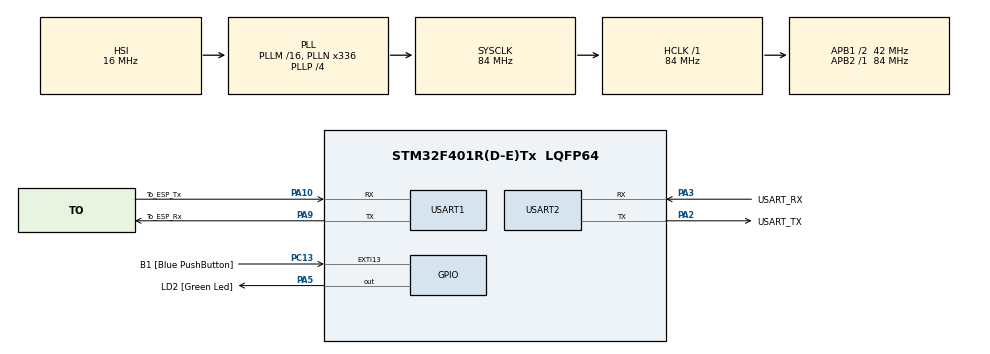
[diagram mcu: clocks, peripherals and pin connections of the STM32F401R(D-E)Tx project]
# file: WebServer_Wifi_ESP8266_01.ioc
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Mcu.Family=STM32F4
Mcu.Name=STM32F401R(D-E)Tx
Mcu.Package=LQFP64
NVIC.PriorityGroup=NVIC_PRIORITYGROUP_4
PA10.GPIO_Label=To_ESP_Tx
PA10.Mode=Asynchronous
PA10.Signal=USART1_RX
PA13.GPIO_Label=TMS
PA13.Mode=Trace_Asynchronous_SW
PA13.Signal=SYS_JTMS-SWDIO
PA14.GPIO_Label=TCK
PA14.Mode=Trace_Asynchronous_SW
PA14.Signal=SYS_JTCK-SWCLK
PA2.GPIO_Label=USART_TX
PA2.GPIO_Mode=GPIO_MODE_AF_PP
PA2.GPIO_PuPd=GPIO_NOPULL
PA2.GPIO_Speed=GPIO_SPEED_FREQ_LOW
PA2.Mode=Asynchronous
PA2.Signal=USART2_TX
PA3.GPIO_Label=USART_RX
PA3.GPIO_Mode=GPIO_MODE_AF_PP
PA3.GPIO_PuPd=GPIO_NOPULL
PA3.GPIO_Speed=GPIO_SPEED_FREQ_LOW
PA3.Mode=Asynchronous
PA3.Signal=USART2_RX
PA5.GPIO_Label=LD2 [Green Led]
PA5.GPIO_Mode=GPIO_MODE_OUTPUT_PP
PA5.GPIO_PuPd=GPIO_NOPULL
PA5.GPIO_Speed=GPIO_SPEED_FREQ_LOW
PA5.Signal=GPIO_Output
PA9.GPIO_Label=To_ESP_Rx
PA9.Mode=Asynchronous
PA9.Signal=USART1_TX
PB3.GPIO_Label=SWO
PB3.Mode=Trace_Asynchronous_SW
PB3.Signal=SYS_JTDO-SWO
PC13-ANTI_TAMP.GPIO_Label=B1 [Blue PushButton]
PC13-ANTI_TAMP.GPIO_ModeDefaultEXTI=GPIO_MODE_IT_FALLING
PC13-ANTI_TAMP.GPIO_PuPd=GPIO_NOPULL
PC13-ANTI_TAMP.Signal=GPXTI13
PC14-OSC32_IN.Mode=LSE-External-Oscillator
PC14-OSC32_IN.Signal=RCC_OSC32_IN
PC15-OSC32_OUT.Mode=LSE-External-Oscillator
PC15-OSC32_OUT.Signal=RCC_OSC32_OUT
PH0\ -\ OSC_IN.Mode=HSE-External-Clock-Source
PH0\ -\ OSC_IN.Signal=RCC_OSC_IN
PH1\ -\ OSC_OUT.Mode=HSE-External-Clock-Source
PH1\ -\ OSC_OUT.Signal=RCC_OSC_OUT
ProjectManager.HeapSize=0x200
ProjectManager.StackSize=0x400
ProjectManager.TargetToolchain=STM32CubeIDE
RCC.48MHZClocksFreq_Value=48000000
RCC.AHBFreq_Value=84000000
RCC.APB1CLKDivider=RCC_HCLK_DIV2
RCC.APB1Freq_Value=42000000
RCC.APB1TimFreq_Value=84000000
RCC.APB2Freq_Value=84000000
RCC.APB2TimFreq_Value=84000000
RCC.CortexFreq_Value=84000000
RCC.HCLKFreq_Value=84000000
RCC.HSE_VALUE=8000000
RCC.HSI_VALUE=16000000
RCC.PLLN=336
RCC.PLLP=RCC_PLLP_DIV4
RCC.PLLQ=7
RCC.SYSCLKFreq_VALUE=84000000
RCC.SYSCLKSource=RCC_SYSCLKSOURCE_PLLCLK
RCC.VCOOutputFreq_Value=336000000
USART1.VirtualMode=VM_ASYNC
USART2.VirtualMode=VM_ASYNC
board=NUCLEO-F401RE

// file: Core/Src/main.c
/* USER CODE BEGIN Header */
/**
  ******************************************************************************
  * @file           : main.c
  * @brief          : Main program body - WiFi Scanner with Auto Connection
  ******************************************************************************
  * @attention
  *
  * Copyright (c) 2024 STMicroelectronics.
  * All rights reserved.
  *
  ******************************************************************************
  */
/* USER CODE END Header */
#include "main.h"
#include "esp8266_driver.h"
#include <string.h>
#include <stdio.h>
#include <stdlib.h>  // For atoi()

/* USER CODE BEGIN PD */
#define TARGET_SSID "SCEL-net"         // SSID to search for and connect
#define TARGET_PASSWORD "Perlatecnica" // WiFi password

/* USER CODE END PD */

UART_HandleTypeDef huart1;
UART_HandleTypeDef huart2;

/* USER CODE BEGIN PV */
ESP8266_t esp8266;
uint8_t led_state = 0;  // 0 = OFF, 1 = ON
char ip_address[16] = {0};

/* USER CODE END PV */

void SystemClock_Config(void);
static void MX_GPIO_Init(void);
static void MX_USART1_UART_Init(void);
static void MX_USART2_UART_Init(void);
/* USER CODE BEGIN PFP */
void Print_Status(const char* message);
int Scan_WiFi_Networks_Detailed(void);
int Connect_To_WiFi(const char* ssid, const char* password);
int Start_Web_Server(uint16_t port);
void Process_Client_Request(void);
void Send_HTTP_Response(uint8_t connection_id, const char* status, const char* content);
void Handle_LED_Command(const char* command);

/* USER CODE END PFP */

/* USER CODE BEGIN 0 */

/**
 * @brief Print debug messages on UART2
 */
void Print_Status(const char* message) {
    HAL_UART_Transmit(&huart2, (uint8_t*)message, strlen(message), 1000);
    HAL_UART_Transmit(&huart2, (uint8_t*)"\r\n", 2, 100);
}

/**
 * @brief Connect to WiFi network
 * @param ssid Network name
 * @param password Network password
 * @return 1 if connected successfully, 0 if failed
 */
int Connect_To_WiFi(const char* ssid, const char* password) {
    Print_Status("\n=== WIFI CONNECTION ===");

    char msg[150];
    snprintf(msg, sizeof(msg), "Attempting to connect to: %s", ssid);
    Print_Status(msg);

    // First disconnect from any existing connection
    Print_Status("Disconnecting from any previous connection...");
    ESP8266_ClearBuffer(&esp8266);
    HAL_UART_Transmit(&huart1, (uint8_t*)"AT+CWQAP\r\n", 10, 1000);
    HAL_Delay(2000);

    // Clear any pending data
    uint8_t dummy;
    while (HAL_UART_Receive(&huart1, &dummy, 1, 10) == HAL_OK);

    // Build connection command
    char cmd[200];
    snprintf(cmd, sizeof(cmd), "AT+CWJAP=\"%s\",\"%s\"\r\n", ssid, password);

    Print_Status("Sending connection command...");
    ESP8266_ClearBuffer(&esp8266);
    HAL_UART_Transmit(&huart1, (uint8_t*)cmd, strlen(cmd), 1000);

    // Wait for connection (can take up to 30 seconds for some routers)
    Print_Status("Waiting for connection (up to 30 seconds)...");

    char response_buffer[2048];
    memset(response_buffer, 0, sizeof(response_buffer));
    int buffer_index = 0;
    uint32_t start_time = HAL_GetTick();
    uint32_t timeout = 30000; // 30 seconds

    int wifi_connected = 0;
    int got_ip = 0;
    int error_detected = 0;

    // Keep reading until we get a clear response or timeout
    while ((HAL_GetTick() - start_time) < timeout && buffer_index < (sizeof(response_buffer) - 1)) {
        uint8_t rx_data;
        if (HAL_UART_Receive(&huart1, &rx_data, 1, 100) == HAL_OK) {
            response_buffer[buffer_index++] = rx_data;
            response_buffer[buffer_index] = '\0';

            // Check for success indicators
            if (strstr(response_buffer, "WIFI CONNECTED") != NULL) {
                if (!wifi_connected) {
                    wifi_connected = 1;
                    Print_Status(">>> WiFi Connected!");
                }
            }

            if (strstr(response_buffer, "WIFI GOT IP") != NULL) {
                got_ip = 1;
                Print_Status(">>> Got IP Address!");
                // If we got IP, wait a bit more for any additional messages
                HAL_Delay(2000);

                // Read any remaining data
                while (HAL_UART_Receive(&huart1, &rx_data, 1, 100) == HAL_OK &&
                       buffer_index < (sizeof(response_buffer) - 1)) {
                    response_buffer[buffer_index++] = rx_data;
                }
                break;
            }

            // Check for specific error codes
            if (strstr(response_buffer, "+CWJAP:1") != NULL) {
                Print_Status("Error: Connection timeout");
                error_detected = 1;
                break;
            }
            if (strstr(response_buffer, "+CWJAP:2") != NULL) {
                Print_Status("Error: Wrong password");
                error_detected = 1;
                break;
            }
            if (strstr(response_buffer, "+CWJAP:3") != NULL) {
                Print_Status("Error: Cannot find AP");
                error_detected = 1;
                break;
            }
            if (strstr(response_buffer, "+CWJAP:4") != NULL) {
                Print_Status("Error: Connection failed");
                error_detected = 1;
                break;
            }
        }
    }

    // Debug: show what we received
    Print_Status("\nDebug - Full response:");
    // Print response in chunks
    int resp_len = strlen(response_buffer);
    for (int i = 0; i < resp_len; i += 200) {
        char chunk[201];
        int chunk_len = (resp_len - i) > 200 ? 200 : (resp_len - i);
        strncpy(chunk, response_buffer + i, chunk_len);
        chunk[chunk_len] = '\0';
        Print_Status(chunk);
    }

    // If we got both WIFI CONNECTED and GOT IP, assume success
    if (wifi_connected && got_ip && !error_detected) {
        Print_Status("\n=== CONNECTION SUCCESSFUL (based on response) ===");

        // Wait extra time for connection to stabilize
        Print_Status("Waiting for connection to stabilize...");
        HAL_Delay(5000);

        // Now get IP address
        Print_Status("\nGetting IP address...");
        ESP8266_ClearBuffer(&esp8266);
        HAL_UART_Transmit(&huart1, (uint8_t*)"AT+CIFSR\r\n", 10, 1000);
        HAL_Delay(3000);

        // Read IP response
        char ip_buffer[512];
        memset(ip_buffer, 0, sizeof(ip_buffer));
        int ip_index = 0;
        uint32_t ip_timeout = HAL_GetTick() + 3000;

        while (HAL_GetTick() < ip_timeout && ip_index < (sizeof(ip_buffer) - 1)) {
            uint8_t rx_data;
            if (HAL_UART_Receive(&huart1, &rx_data, 1, 10) == HAL_OK) {
                ip_buffer[ip_index++] = rx_data;
            }
        }
        ip_buffer[ip_index] = '\0';

        Print_Status("\nIP Response:");
        Print_Status(ip_buffer);

        // Look for IP address in response
        char* staip = strstr(ip_buffer, "STAIP");
        if (!staip) {
            staip = strstr(ip_buffer, "192.168");
            if (!staip) {
                staip = strstr(ip_buffer, "10.");
            }
        }

        if (staip) {
            // Try to extract IP
            char ip_addr[20] = {0};
            int ip_found = 0;

            // Look for pattern like "192.168.x.x"
            for (int i = 0; i < strlen(staip) && i < 15; i++) {
                if ((staip[i] >= '0' && staip[i] <= '9') || staip[i] == '.') {
                    ip_addr[i] = staip[i];
                    ip_found = 1;
                } else if (ip_found && staip[i] == '"') {
                    break;
                } else if (ip_found) {
                    break;
                }
            }

            if (strlen(ip_addr) > 6) {
                snprintf(msg, sizeof(msg), "\nYour IP Address is: %s", ip_addr);
                Print_Status(msg);
                Print_Status("\n*** SUCCESSFULLY CONNECTED! ***");
                strcpy(ip_address, ip_addr);  // Save IP for later use
                esp8266.connected = 1;  // Mark as connected
                return 1;
            }
        }

        // Even if we can't get IP, if we got CONNECTED and GOT IP messages, assume success
        Print_Status("\n*** CONNECTED (IP parsing failed but connection messages received) ***");
        esp8266.connected = 1;  // Mark as connected
        return 1;

    } else if (error_detected) {
        Print_Status("\n=== CONNECTION FAILED WITH ERROR! ===");
        return 0;

    } else {
        Print_Status("\n=== CONNECTION TIMEOUT OR UNCLEAR RESPONSE ===");

        // Try one more verification
        Print_Status("\nFinal verification attempt...");
        HAL_Delay(3000);

        ESP8266_ClearBuffer(&esp8266);
        HAL_UART_Transmit(&huart1, (uint8_t*)"AT+CWJAP?\r\n", 11, 1000);
        HAL_Delay(3000);

        char check_buffer[512];
        memset(check_buffer, 0, sizeof(check_buffer));
        int check_index = 0;
        uint32_t check_timeout = HAL_GetTick() + 3000;

        while (HAL_GetTick() < check_timeout && check_index < (sizeof(check_buffer) - 1)) {
            uint8_t rx_data;
            if (HAL_UART_Receive(&huart1, &rx_data, 1, 10) == HAL_OK) {
                check_buffer[check_index++] = rx_data;
            }
        }
        check_buffer[check_index] = '\0';

        Print_Status("Verification response:");
        Print_Status(check_buffer);

        if (strstr(check_buffer, ssid) != NULL || strstr(check_buffer, "No AP") == NULL) {
            Print_Status("Connection verified!");
            return 1;
        } else {
            Print_Status("Not connected");
            Print_Status("\nPossible issues:");
            Print_Status("1. ESP8266 firmware may need update");
            Print_Status("2. Try simpler password (no special chars)");
            Print_Status("3. Router security settings (WPA2 only recommended)");
            Print_Status("4. Power supply issues (ESP8266 needs stable 3.3V)");
            return 0;
        }
    }
}

/**
 * @brief Detailed WiFi network scan
 * @return 1 if target network found, 0 if not found
 */
int Scan_WiFi_Networks_Detailed(void) {
    Print_Status("\n=== DETAILED WIFI NETWORK SCAN ===");

    // Large buffer to hold all networks
    char scan_buffer[4096];
    memset(scan_buffer, 0, sizeof(scan_buffer));

    // Set Station mode
    Print_Status("Setting Station mode...");
    ESP8266_ClearBuffer(&esp8266);
    HAL_UART_Transmit(&huart1, (uint8_t*)"AT+CWMODE=1\r\n", 13, 1000);
    HAL_Delay(2000);

    // Clear buffer
    uint8_t dummy;
    while (HAL_UART_Receive(&huart1, &dummy, 1, 10) == HAL_OK);

    // Send scan command
    Print_Status("Sending AT+CWLAP command...");
    ESP8266_ClearBuffer(&esp8266);
    HAL_UART_Transmit(&huart1, (uint8_t*)"AT+CWLAP\r\n", 10, 1000);

    // Wait for response (scan can take time)
    Print_Status("Waiting for response (may take 10-15 seconds)...");

    uint32_t start_time = HAL_GetTick();
    uint32_t timeout = 15000; // 15 seconds timeout
    int buffer_index = 0;
    uint8_t rx_data;
    int found_ok = 0;

    // Collect all data until OK is found or timeout
    while ((HAL_GetTick() - start_time) < timeout && buffer_index < (sizeof(scan_buffer) - 1)) {
        if (HAL_UART_Receive(&huart1, &rx_data, 1, 100) == HAL_OK) {
            scan_buffer[buffer_index++] = rx_data;
            scan_buffer[buffer_index] = '\0';

            // Check if we received OK (end of scan)
            if (buffer_index >= 2) {
                if (scan_buffer[buffer_index-2] == 'O' && scan_buffer[buffer_index-1] == 'K') {
                    found_ok = 1;
                    // Continue reading for a few more ms to be sure
                    HAL_Delay(500);
                    while (HAL_UART_Receive(&huart1, &rx_data, 1, 10) == HAL_OK &&
                           buffer_index < (sizeof(scan_buffer) - 1)) {
                        scan_buffer[buffer_index++] = rx_data;
                    }
                    break;
                }
            }
        }
    }

    scan_buffer[buffer_index] = '\0';

    // Print response information
    char info_msg[100];
    snprintf(info_msg, sizeof(info_msg), "Received %d bytes in %lu ms",
             buffer_index, HAL_GetTick() - start_time);
    Print_Status(info_msg);

    if (found_ok) {
        Print_Status("Scan completed successfully!");
    } else {
        Print_Status("Timeout or buffer full");
    }

    // Print entire buffer for debug
    Print_Status("\n--- COMPLETE RAW RESPONSE ---");
    // Print in chunks to avoid UART overflow
    int chunk_size = 200;
    for (int i = 0; i < buffer_index; i += chunk_size) {
        int len = (buffer_index - i) < chunk_size ? (buffer_index - i) : chunk_size;
        HAL_UART_Transmit(&huart2, (uint8_t*)&scan_buffer[i], len, 1000);
        HAL_Delay(50); // Small pause between chunks
    }
    Print_Status("\n--- END OF RAW RESPONSE ---");

    // Parse and print found networks
    Print_Status("\n=== WIFI NETWORKS FOUND ===");

    char* line_start = scan_buffer;
    char* line_end;
    int network_count = 0;
    int target_found = 0;

    while ((line_end = strstr(line_start, "\r\n")) != NULL) {
        *line_end = '\0'; // Terminate the line

        // Look for lines starting with +CWLAP:
        if (strstr(line_start, "+CWLAP:") == line_start) {
            network_count++;

            // Extract network information
            char* info_start = line_start + 7; // Skip "+CWLAP:"

            // Format: +CWLAP:(enc,ssid,rssi,mac,channel,freq_offset,freq_cali)
            // Example: +CWLAP:(3,"MyNetwork",-70,"aa:bb:cc:dd:ee:ff",1,0,0)

            char network_info[200];
            snprintf(network_info, sizeof(network_info), "Network %d: %s", network_count, info_start);
            Print_Status(network_info);

            // Extract SSID
            char* ssid_start = strchr(info_start, '"');
            if (ssid_start) {
                ssid_start++; // Skip first quote
                char* ssid_end = strchr(ssid_start, '"');
                if (ssid_end) {
                    char ssid[65] = {0};
                    int ssid_len = ssid_end - ssid_start;
                    if (ssid_len < 64) {
                        strncpy(ssid, ssid_start, ssid_len);
                        ssid[ssid_len] = '\0';

                        // Print extracted SSID
                        char ssid_msg[100];
                        snprintf(ssid_msg, sizeof(ssid_msg), "  SSID: [%s]", ssid);
                        Print_Status(ssid_msg);

                        // Check if it's the target network
                        if (strcmp(ssid, TARGET_SSID) == 0) {
                            target_found = 1;
                            Print_Status("  *** TARGET NETWORK FOUND! ***");
                        }

                        // Extract RSSI (signal strength)
                        char* rssi_start = ssid_end + 2; // Skip "," after SSID
                        if (*rssi_start == ',') rssi_start++;
                        char* rssi_end = strchr(rssi_start, ',');
                        if (rssi_end) {
                            char rssi[10] = {0};
                            int rssi_len = rssi_end - rssi_start;
                            if (rssi_len < 10) {
                                strncpy(rssi, rssi_start, rssi_len);
                                char rssi_msg[50];
                                snprintf(rssi_msg, sizeof(rssi_msg), "  Signal: %s dBm", rssi);
                                Print_Status(rssi_msg);
                            }
                        }
                    }
                }
            }

            Print_Status(""); // Empty line between networks
        }

        line_start = line_end + 2; // Skip \r\n
    }

    // Final summary
    Print_Status("=== SCAN SUMMARY ===");
    snprintf(info_msg, sizeof(info_msg), "Total networks found: %d", network_count);
    Print_Status(info_msg);

    if (target_found) {
        snprintf(info_msg, sizeof(info_msg), "Network '%s' WAS FOUND!", TARGET_SSID);
        Print_Status(info_msg);
    } else {
        snprintf(info_msg, sizeof(info_msg), "Network '%s' was NOT found", TARGET_SSID);
        Print_Status(info_msg);
        Print_Status("Possible reasons:");
        Print_Status("1. Router is off or out of range");
        Print_Status("2. SSID is hidden (not broadcasting)");
        Print_Status("3. SSID contains special characters");
        Print_Status("4. Case mismatch in network name");
    }

    // Additional test: try searching with specific parameters
    if (!target_found) {
        Print_Status("\n=== SPECIFIC SEARCH ===");
        snprintf(info_msg, sizeof(info_msg), "Searching specifically for: %s", TARGET_SSID);
        Print_Status(info_msg);

        // Command to search for specific SSID
        char cmd[100];
        snprintf(cmd, sizeof(cmd), "AT+CWLAP=\"%s\"\r\n", TARGET_SSID);

        ESP8266_ClearBuffer(&esp8266);
        HAL_UART_Transmit(&huart1, (uint8_t*)cmd, strlen(cmd), 1000);
        HAL_Delay(5000);

        // Read response
        memset(scan_buffer, 0, 1000);
        buffer_index = 0;
        timeout = HAL_GetTick() + 5000;

        while (HAL_GetTick() < timeout && buffer_index < 999) {
            if (HAL_UART_Receive(&huart1, &rx_data, 1, 10) == HAL_OK) {
                scan_buffer[buffer_index++] = rx_data;
            }
        }
        scan_buffer[buffer_index] = '\0';

        Print_Status("Specific search result:");
        if (strstr(scan_buffer, "+CWLAP:") != NULL) {
            Print_Status("NETWORK FOUND with specific search!");
            Print_Status(scan_buffer);
        } else if (strstr(scan_buffer, "OK") != NULL) {
            Print_Status("Command executed but network not found");
        } else {
            Print_Status("No response or error");
            Print_Status(scan_buffer);
        }
    }

    // Return whether target network was found
    return target_found;
}

/**
 * @brief Start HTTP server on ESP8266
 * @param port Port number (usually 80)
 * @return 1 if successful, 0 if failed
 */
int Start_Web_Server(uint16_t port) {
    Print_Status("\n=== STARTING WEB SERVER ===");

    char msg[100];

    // Enable multiple connections
    Print_Status("Enabling multiple connections...");
    ESP8266_ClearBuffer(&esp8266);
    HAL_UART_Transmit(&huart1, (uint8_t*)"AT+CIPMUX=1\r\n", 13, 1000);
    HAL_Delay(2000);

    // Start server
    snprintf(msg, sizeof(msg), "Starting server on port %d...", port);
    Print_Status(msg);

    char cmd[50];
    snprintf(cmd, sizeof(cmd), "AT+CIPSERVER=1,%d\r\n", port);
    ESP8266_ClearBuffer(&esp8266);
    HAL_UART_Transmit(&huart1, (uint8_t*)cmd, strlen(cmd), 1000);
    HAL_Delay(2000);

    // Set server timeout
    Print_Status("Setting server timeout...");
    ESP8266_ClearBuffer(&esp8266);
    HAL_UART_Transmit(&huart1, (uint8_t*)"AT+CIPSTO=180\r\n", 15, 1000);
    HAL_Delay(1000);

    Print_Status("*** WEB SERVER STARTED ***");
    snprintf(msg, sizeof(msg), "Server URL: http://%s:%d",
             strlen(ip_address) > 0 ? ip_address : "ESP_IP", port);
    Print_Status(msg);
    Print_Status("Commands:");
    Print_Status("  GET /ledon   - Turn ON LED");
    Print_Status("  GET /ledoff  - Turn OFF LED");
    Print_Status("  GET /status  - Get LED status");

    return 1;
}

/**
 * @brief Handle LED commands
 * @param command Command string
 */
void Handle_LED_Command(const char* command) {
    if (strstr(command, "ledon") != NULL) {
        HAL_GPIO_WritePin(GPIOA, GPIO_PIN_5, GPIO_PIN_SET);
        led_state = 1;
        Print_Status("LED turned ON");
    } else if (strstr(command, "ledoff") != NULL) {
        HAL_GPIO_WritePin(GPIOA, GPIO_PIN_5, GPIO_PIN_RESET);
        led_state = 0;
        Print_Status("LED turned OFF");
    }
}

/**
 * @brief Send HTTP response to client
 * @param connection_id Connection ID
 * @param status HTTP status
 * @param content Response content
 */
void Send_HTTP_Response(uint8_t connection_id, const char* status, const char* content) {
    char response[512];
    char cmd[50];

    Print_Status("Sending HTTP response...");

    // Build HTTP response
    snprintf(response, sizeof(response),
            "HTTP/1.1 %s\r\n"
            "Content-Type: application/json\r\n"
            "Content-Length: %d\r\n"
            "Connection: close\r\n"
            "Access-Control-Allow-Origin: *\r\n"
            "\r\n"
            "%s",
            status, (int)strlen(content), content);

    // Clear any pending data first
    uint8_t dummy;
    while (HAL_UART_Receive(&huart1, &dummy, 1, 10) == HAL_OK);

    // Send data command
    snprintf(cmd, sizeof(cmd), "AT+CIPSEND=%d,%d\r\n", connection_id, (int)strlen(response));
    Print_Status(cmd);
    HAL_UART_Transmit(&huart1, (uint8_t*)cmd, strlen(cmd), 1000);

    // Wait for '>' prompt with better error handling
    uint32_t start_time = HAL_GetTick();
    uint32_t timeout = 3000; // 3 seconds timeout
    int prompt_found = 0;
    char debug_buffer[100];
    int debug_idx = 0;

    while ((HAL_GetTick() - start_time) < timeout) {
        uint8_t rx_data;
        if (HAL_UART_Receive(&huart1, &rx_data, 1, 50) == HAL_OK) {
            // Collect response for debugging
            if (debug_idx < 99) {
                debug_buffer[debug_idx++] = rx_data;
                debug_buffer[debug_idx] = '\0';
            }

            if (rx_data == '>') {
                prompt_found = 1;
                Print_Status("Got > prompt");
                break;
            }

            // Check for ERROR response
            if (debug_idx > 5 && strstr(debug_buffer, "ERROR") != NULL) {
                Print_Status("ERROR response from ESP8266");
                Print_Status(debug_buffer);
                return;
            }
        }
    }

    if (!prompt_found) {
        Print_Status("ERROR: No > prompt received, debug buffer:");
        Print_Status(debug_buffer);

        // Try alternative approach - send without waiting for prompt
        Print_Status("Trying to send data anyway...");
        HAL_Delay(100);
    }

    // Send the response data
    HAL_UART_Transmit(&huart1, (uint8_t*)response, strlen(response), 2000);
    Print_Status("Response data sent");

    // Wait for send confirmation
    HAL_Delay(1000);

    // Read any response
    char send_result[100];
    int result_idx = 0;
    uint32_t result_timeout = HAL_GetTick() + 2000;

    while (HAL_GetTick() < result_timeout && result_idx < 99) {
        uint8_t rx_data;
        if (HAL_UART_Receive(&huart1, &rx_data, 1, 10) == HAL_OK) {
            send_result[result_idx++] = rx_data;
        }
    }
    send_result[result_idx] = '\0';

    if (strstr(send_result, "SEND OK") != NULL) {
        Print_Status("SEND OK received");
    } else if (result_idx > 0) {
        Print_Status("Send result:");
        Print_Status(send_result);
    }

    // Close connection
    HAL_Delay(500);
    snprintf(cmd, sizeof(cmd), "AT+CIPCLOSE=%d\r\n", connection_id);
    HAL_UART_Transmit(&huart1, (uint8_t*)cmd, strlen(cmd), 1000);
    HAL_Delay(500);

    // Clear any remaining data
    while (HAL_UART_Receive(&huart1, &dummy, 1, 10) == HAL_OK);

    Print_Status("Response complete");
}

/**
 * @brief Process incoming client requests
 */
void Process_Client_Request(void) {
    static char rx_buffer[1024];
    static uint16_t rx_index = 0;
    static uint32_t last_check = 0;
    uint8_t rx_data;

    // Read all available data
    while (HAL_UART_Receive(&huart1, &rx_data, 1, 10) == HAL_OK) {
        if (rx_index < (sizeof(rx_buffer) - 1)) {
            rx_buffer[rx_index++] = rx_data;
            rx_buffer[rx_index] = '\0';
        }
    }

    // Check if we have data to process
    if (rx_index > 0) {
        // Look for +IPD pattern
        char* ipd_start = strstr(rx_buffer, "+IPD,");
        if (ipd_start != NULL) {
            Print_Status("\n*** NEW CLIENT CONNECTION! ***");

            // Extract connection ID
            uint8_t conn_id = ipd_start[5] - '0';

            // Find data length and start
            char* comma = strchr(ipd_start + 5, ',');
            if (comma != NULL) {
                // Get length
                int length = atoi(comma + 1);

                // Find start of data (after ':')
                char* data_start = strchr(comma, ':');
                if (data_start != NULL) {
                    data_start++; // Skip ':'

                    char msg[100];
                    snprintf(msg, sizeof(msg), "Connection ID: %d, Length: %d", conn_id, length);
                    Print_Status(msg);

                    // Print first line of request
                    char first_line[100] = {0};
                    int i;
                    for (i = 0; i < 99 && data_start[i] != '\r' && data_start[i] != '\n' && data_start[i] != '\0'; i++) {
                        first_line[i] = data_start[i];
                    }
                    first_line[i] = '\0';

                    Print_Status("Request:");
                    Print_Status(first_line);

                    // Process HTTP request
                    char response_body[200];

                    // Check for endpoints in the first line
                    if (strstr(first_line, "GET /ledon") != NULL) {
                        Handle_LED_Command("ledon");
                        snprintf(response_body, sizeof(response_body),
                                "{\"status\":\"success\",\"led\":\"on\",\"message\":\"LED turned on\"}");
                        Send_HTTP_Response(conn_id, "200 OK", response_body);
                    }
                    else if (strstr(first_line, "GET /ledoff") != NULL) {
                        Handle_LED_Command("ledoff");
                        snprintf(response_body, sizeof(response_body),
                                "{\"status\":\"success\",\"led\":\"off\",\"message\":\"LED turned off\"}");
                        Send_HTTP_Response(conn_id, "200 OK", response_body);
                    }
                    else if (strstr(first_line, "GET /status") != NULL) {
                        Print_Status("Processing /status request");
                        snprintf(response_body, sizeof(response_body),
                                "{\"status\":\"success\",\"led\":\"%s\",\"ip\":\"%s\"}",
                                led_state ? "on" : "off",
                                strlen(ip_address) > 0 ? ip_address : "192.168.1.2");
                        Send_HTTP_Response(conn_id, "200 OK", response_body);
                    }
                    else if (strstr(first_line, "GET / ") != NULL) {
                        // Root page
                        Print_Status("Processing root request");
                        snprintf(response_body, sizeof(response_body),
                                "{\"message\":\"ESP8266 LED Control\",\"endpoints\":[\"/ledon\",\"/ledoff\",\"/status\"]}");
                        Send_HTTP_Response(conn_id, "200 OK", response_body);
                    }
                    else if (strstr(first_line, "POST") != NULL) {
                        Print_Status("Processing POST request");
                        // Handle POST requests
                        char* body_start = strstr(data_start, "\r\n\r\n");
                        if (body_start != NULL) {
                            body_start += 4;

                            if (strstr(body_start, "ledon") != NULL) {
                                Handle_LED_Command("ledon");
                                snprintf(response_body, sizeof(response_body),
                                        "{\"status\":\"success\",\"led\":\"on\"}");
                            }
                            else if (strstr(body_start, "ledoff") != NULL) {
                                Handle_LED_Command("ledoff");
                                snprintf(response_body, sizeof(response_body),
                                        "{\"status\":\"success\",\"led\":\"off\"}");
                            }
                            else {
                                snprintf(response_body, sizeof(response_body),
                                        "{\"status\":\"error\",\"message\":\"Unknown command\"}");
                            }
                            Send_HTTP_Response(conn_id, "200 OK", response_body);
                        }
                    }
                    else {
                        // Unknown request
                        Print_Status("Unknown request - sending 404");
                        snprintf(response_body, sizeof(response_body),
                                "{\"status\":\"error\",\"message\":\"Unknown endpoint: %s\"}", first_line);
                        Send_HTTP_Response(conn_id, "404 Not Found", response_body);
                    }
                }
            }

            // Clear buffer after processing
            rx_index = 0;
            memset(rx_buffer, 0, sizeof(rx_buffer));
        }
        else {
            // No +IPD found, check if buffer is getting full
            if (rx_index > 500) {
                // Print what we have for debug
                Print_Status("Buffer without +IPD:");
                char temp[101];
                strncpy(temp, rx_buffer, 100);
                temp[100] = '\0';
                Print_Status(temp);

                // Clear buffer
                rx_index = 0;
                memset(rx_buffer, 0, sizeof(rx_buffer));
            }
        }
    }

    // Periodic alive message
    if ((HAL_GetTick() - last_check) > 10000) {
        Print_Status("Server listening...");
        last_check = HAL_GetTick();
    }
}

/* USER CODE END 0 */

int main(void)
{

  /* MCU Configuration--------------------------------------------------------*/

  /* Reset of all peripherals, Initializes the Flash interface and the Systick. */
  HAL_Init();

  /* Configure the system clock */
  SystemClock_Config();

  /* Initialize all configured peripherals */
  MX_GPIO_Init();
  MX_USART1_UART_Init();
  MX_USART2_UART_Init();
  /* USER CODE BEGIN 2 */

  Print_Status("\r\n=== ESP8266 WiFi Scanner ===");
  Print_Status("Initializing ESP8266...");

  // Initialize ESP8266 with minimal checks
  esp8266.huart = &huart1;
  HAL_Delay(3000); // Wait for ESP8266 to boot

  // Basic communication test
  Print_Status("Testing communication...");
  ESP8266_ClearBuffer(&esp8266);
  HAL_UART_Transmit(&huart1, (uint8_t*)"AT\r\n", 4, 1000);
  HAL_Delay(1000);

  int received = 0;
  uint32_t timeout = HAL_GetTick() + 2000;

  while (HAL_GetTick() < timeout) {
      uint8_t rx_data;
      if (HAL_UART_Receive(&huart1, &rx_data, 1, 10) == HAL_OK) {
          received++;
      }
  }

  if (received > 0) {
      Print_Status("Communication OK!");
      Print_Status("Received response from ESP8266");

      // Reset ESP8266
      Print_Status("Resetting module...");
      HAL_UART_Transmit(&huart1, (uint8_t*)"AT+RST\r\n", 8, 1000);
      HAL_Delay(5000); // Wait for complete reset

      // Clear buffer after reset
      uint8_t dummy;
      while (HAL_UART_Receive(&huart1, &dummy, 1, 10) == HAL_OK);

      // Disable echo
      HAL_UART_Transmit(&huart1, (uint8_t*)"ATE0\r\n", 6, 1000);
      HAL_Delay(500);

      // Perform WiFi scan
      int network_found = Scan_WiFi_Networks_Detailed();

      // If target network was found, try to connect
      if (network_found) {
          Print_Status("\n=== ATTEMPTING CONNECTION ===");
          if (Connect_To_WiFi(TARGET_SSID, TARGET_PASSWORD)) {
              Print_Status("\n*** SUCCESSFULLY CONNECTED TO WIFI! ***");
              Print_Status("System ready for next operations");

              // Start web server
              if (Start_Web_Server(80)) {
                  Print_Status("\n*** SYSTEM FULLY OPERATIONAL ***");
                  Print_Status("You can now control the LED via HTTP");

                  // Main server loop
                  uint32_t last_status_time = 0;
                  while (1) {
                      // Process incoming requests
                      Process_Client_Request();

                      // Periodic status update every 30 seconds
                      if ((HAL_GetTick() - last_status_time) > 30000) {
                          char status_msg[100];
                          snprintf(status_msg, sizeof(status_msg),
                                  "Server active - LED: %s - IP: %s",
                                  led_state ? "ON" : "OFF",
                                  strlen(ip_address) > 0 ? ip_address : "unknown");
                          Print_Status(status_msg);
                          last_status_time = HAL_GetTick();
                      }

                      // Small delay to prevent CPU overload
                      HAL_Delay(10);
                  }
              } else {
                  Print_Status("Failed to start web server!");
              }
          } else {
              Print_Status("\n*** FAILED TO CONNECT TO WIFI ***");
              Print_Status("Check password and try again");
          }
      } else {
          Print_Status("\n*** TARGET NETWORK NOT FOUND ***");
          Print_Status("Cannot attempt connection");
      }

  } else {
      Print_Status("ERROR: No communication with ESP8266!");
      Print_Status("Check:");
      Print_Status("- 3.3V power supply");
      Print_Status("- TX/RX connections");
      Print_Status("- CH_PD to 3.3V");
  }

  /* USER CODE END 2 */

  /* Infinite loop */
  /* USER CODE BEGIN WHILE */
  while (1)
  {
    // If connected and server is running, process requests
    if (esp8266.connected) {
        Process_Client_Request();
    }

    // Press blue button to repeat scan
    if (HAL_GPIO_ReadPin(GPIOC, GPIO_PIN_13) == GPIO_PIN_RESET) {
        Print_Status("\n\n=== NEW SCAN ===");
        int found = Scan_WiFi_Networks_Detailed();

        if (found) {
            if (Connect_To_WiFi(TARGET_SSID, TARGET_PASSWORD)) {
                Print_Status("Connected successfully!");
                // Start server if not already running
                Start_Web_Server(80);
                // Return to main loop
            }
        }

        // Debounce
        while (HAL_GPIO_ReadPin(GPIOC, GPIO_PIN_13) == GPIO_PIN_RESET) {
            HAL_Delay(50);
        }
    }

    // Status LED - solid when server running, blinking when not
    static uint32_t last_blink = 0;
    if (!esp8266.connected && (HAL_GetTick() - last_blink) > 500) {
        HAL_GPIO_TogglePin(GPIOA, GPIO_PIN_5);
        last_blink = HAL_GetTick();
    }

    /* USER CODE END WHILE */

  }
}

void SystemClock_Config(void)
{
  RCC_OscInitTypeDef RCC_OscInitStruct = {0};
  RCC_ClkInitTypeDef RCC_ClkInitStruct = {0};

  /** Configure the main internal regulator output voltage
  */
  __HAL_RCC_PWR_CLK_ENABLE();
  __HAL_PWR_VOLTAGESCALING_CONFIG(PWR_REGULATOR_VOLTAGE_SCALE2);

  /** Initializes the RCC Oscillators according to the specified parameters
  * in the RCC_OscInitTypeDef structure.
  */
  RCC_OscInitStruct.OscillatorType = RCC_OSCILLATORTYPE_HSI;
  RCC_OscInitStruct.HSIState = RCC_HSI_ON;
  RCC_OscInitStruct.HSICalibrationValue = RCC_HSICALIBRATION_DEFAULT;
  RCC_OscInitStruct.PLL.PLLState = RCC_PLL_ON;
  RCC_OscInitStruct.PLL.PLLSource = RCC_PLLSOURCE_HSI;
  RCC_OscInitStruct.PLL.PLLM = 16;
  RCC_OscInitStruct.PLL.PLLN = 336;
  RCC_OscInitStruct.PLL.PLLP = RCC_PLLP_DIV4;
  RCC_OscInitStruct.PLL.PLLQ = 7;
  if (HAL_RCC_OscConfig(&RCC_OscInitStruct) != HAL_OK)
  {
    Error_Handler();
  }

  /** Initializes the CPU, AHB and APB buses clocks
  */
  RCC_ClkInitStruct.ClockType = RCC_CLOCKTYPE_HCLK|RCC_CLOCKTYPE_SYSCLK
                              |RCC_CLOCKTYPE_PCLK1|RCC_CLOCKTYPE_PCLK2;
  RCC_ClkInitStruct.SYSCLKSource = RCC_SYSCLKSOURCE_PLLCLK;
  RCC_ClkInitStruct.AHBCLKDivider = RCC_SYSCLK_DIV1;
  RCC_ClkInitStruct.APB1CLKDivider = RCC_HCLK_DIV2;
  RCC_ClkInitStruct.APB2CLKDivider = RCC_HCLK_DIV1;

  if (HAL_RCC_ClockConfig(&RCC_ClkInitStruct, FLASH_LATENCY_2) != HAL_OK)
  {
    Error_Handler();
  }
}

static void MX_USART1_UART_Init(void)
{

  huart1.Instance = USART1;
  huart1.Init.BaudRate = 115200;
  huart1.Init.WordLength = UART_WORDLENGTH_8B;
  huart1.Init.StopBits = UART_STOPBITS_1;
  huart1.Init.Parity = UART_PARITY_NONE;
  huart1.Init.Mode = UART_MODE_TX_RX;
  huart1.Init.HwFlowCtl = UART_HWCONTROL_NONE;
  huart1.Init.OverSampling = UART_OVERSAMPLING_16;
  if (HAL_UART_Init(&huart1) != HAL_OK)
  {
    Error_Handler();
  }

}

static void MX_USART2_UART_Init(void)
{

  huart2.Instance = USART2;
  huart2.Init.BaudRate = 115200;
  huart2.Init.WordLength = UART_WORDLENGTH_8B;
  huart2.Init.StopBits = UART_STOPBITS_1;
  huart2.Init.Parity = UART_PARITY_NONE;
  huart2.Init.Mode = UART_MODE_TX_RX;
  huart2.Init.HwFlowCtl = UART_HWCONTROL_NONE;
  huart2.Init.OverSampling = UART_OVERSAMPLING_16;
  if (HAL_UART_Init(&huart2) != HAL_OK)
  {
    Error_Handler();
  }

}

static void MX_GPIO_Init(void)
{
  GPIO_InitTypeDef GPIO_InitStruct = {0};

  /* GPIO Ports Clock Enable */
  __HAL_RCC_GPIOC_CLK_ENABLE();
  __HAL_RCC_GPIOH_CLK_ENABLE();
  __HAL_RCC_GPIOA_CLK_ENABLE();
  __HAL_RCC_GPIOB_CLK_ENABLE();

  /*Configure GPIO pin Output Level */
  HAL_GPIO_WritePin(GPIOA, GPIO_PIN_5, GPIO_PIN_RESET);

  /*Configure GPIO pin : PC13 */
  GPIO_InitStruct.Pin = GPIO_PIN_13;
  GPIO_InitStruct.Mode = GPIO_MODE_IT_FALLING;
  GPIO_InitStruct.Pull = GPIO_NOPULL;
  HAL_GPIO_Init(GPIOC, &GPIO_InitStruct);

  /*Configure GPIO pin : PA5 */
  GPIO_InitStruct.Pin = GPIO_PIN_5;
  GPIO_InitStruct.Mode = GPIO_MODE_OUTPUT_PP;
  GPIO_InitStruct.Pull = GPIO_NOPULL;
  GPIO_InitStruct.Speed = GPIO_SPEED_FREQ_LOW;
  HAL_GPIO_Init(GPIOA, &GPIO_InitStruct);

}

void Error_Handler(void)
{
  __disable_irq();
  while (1)
  {
  }
}
